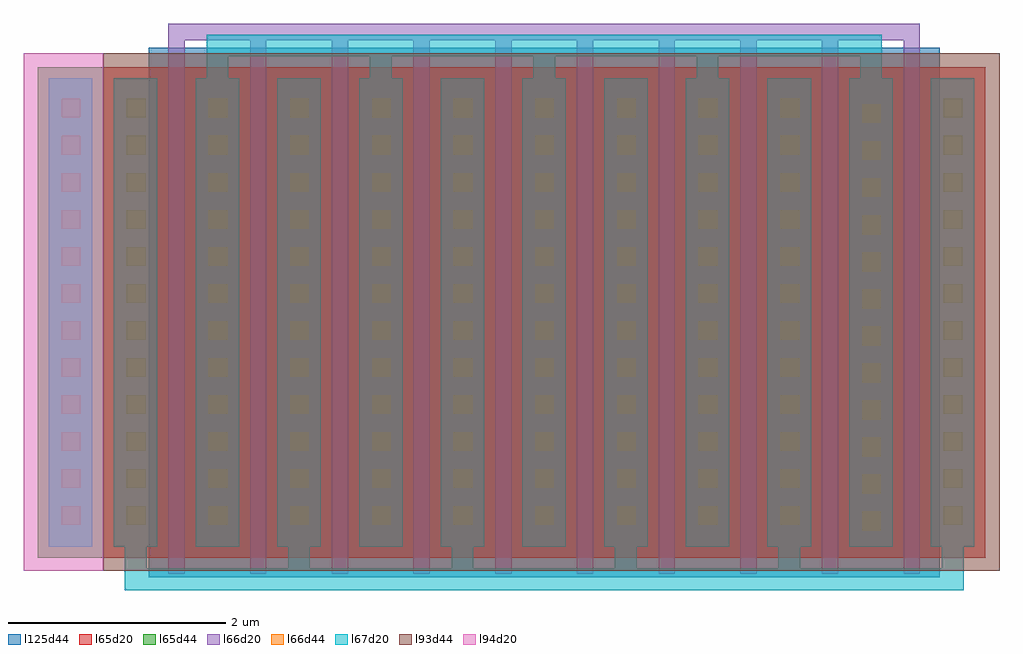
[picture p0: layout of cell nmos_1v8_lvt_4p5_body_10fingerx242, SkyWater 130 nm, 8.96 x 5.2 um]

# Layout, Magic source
magic
tech sky130a
<< l67d20 >>
rect 135 475 755 495
rect 735 455 755 475
rect 585 455 605 475
rect 435 455 455 475
rect 285 455 305 475
rect 135 455 155 475
rect 800 25 840 455
rect 725 25 765 455
rect 650 25 690 455
rect 575 25 615 455
rect 500 25 540 455
rect 425 25 465 455
rect 350 25 390 455
rect 275 25 315 455
rect 200 25 240 455
rect 125 25 165 455
rect 50 25 90 455
rect 810 5 830 25
rect 660 5 680 25
rect 510 5 530 25
rect 360 5 380 25
rect 210 5 230 25
rect 60 5 80 25
rect 60 -15 830 5
rect -10 25 30 455
<< l66d20 >>
rect 100 490 790 505
rect 775 0 790 490
rect 700 0 715 490
rect 625 0 640 490
rect 550 0 565 490
rect 475 0 490 490
rect 400 0 415 490
rect 325 0 340 490
rect 250 0 265 490
rect 175 0 190 490
rect 100 0 115 490
<< l66d44 >>
rect 437 419 454 436
rect 437 385 454 402
rect 437 351 454 368
rect 437 317 454 334
rect 437 283 454 300
rect 437 249 454 266
rect 812 351 829 368
rect 737 346 754 363
rect 812 283 829 300
rect 737 278 754 295
rect 662 283 679 300
rect 587 283 604 300
rect 512 283 529 300
rect 662 351 679 368
rect 587 351 604 368
rect 512 351 529 368
rect 737 380 754 397
rect 662 385 679 402
rect 587 385 604 402
rect 812 249 829 266
rect 737 244 754 261
rect 662 249 679 266
rect 587 249 604 266
rect 512 249 529 266
rect 512 385 529 402
rect 737 414 754 431
rect 662 419 679 436
rect 812 317 829 334
rect 737 312 754 329
rect 662 317 679 334
rect 587 317 604 334
rect 512 317 529 334
rect 587 419 604 436
rect 512 419 529 436
rect 812 419 829 436
rect 812 385 829 402
rect 287 419 304 436
rect 362 351 379 368
rect 287 351 304 368
rect 212 351 229 368
rect 137 351 154 368
rect 62 351 79 368
rect 212 419 229 436
rect 362 317 379 334
rect 287 317 304 334
rect 212 317 229 334
rect 137 317 154 334
rect 62 317 79 334
rect 137 419 154 436
rect 362 283 379 300
rect 287 283 304 300
rect 212 283 229 300
rect 137 283 154 300
rect 62 283 79 300
rect 62 419 79 436
rect 362 249 379 266
rect 287 249 304 266
rect 212 249 229 266
rect 137 249 154 266
rect 62 249 79 266
rect 362 419 379 436
rect 362 385 379 402
rect 287 385 304 402
rect 212 385 229 402
rect 137 385 154 402
rect 62 385 79 402
rect 2 351 19 368
rect 2 317 19 334
rect 2 283 19 300
rect 2 419 19 436
rect 2 249 19 266
rect 2 385 19 402
rect 212 181 229 198
rect 362 113 379 130
rect 287 113 304 130
rect 212 113 229 130
rect 137 113 154 130
rect 62 113 79 130
rect 137 181 154 198
rect 62 181 79 198
rect 212 215 229 232
rect 137 215 154 232
rect 62 215 79 232
rect 287 45 304 62
rect 362 79 379 96
rect 287 79 304 96
rect 212 79 229 96
rect 137 79 154 96
rect 62 79 79 96
rect 212 45 229 62
rect 137 45 154 62
rect 362 147 379 164
rect 287 147 304 164
rect 212 147 229 164
rect 137 147 154 164
rect 362 45 379 62
rect 62 147 79 164
rect 62 45 79 62
rect 362 215 379 232
rect 287 215 304 232
rect 362 181 379 198
rect 287 181 304 198
rect 2 147 19 164
rect 2 45 19 62
rect 2 113 19 130
rect 2 181 19 198
rect 2 215 19 232
rect 2 79 19 96
rect 812 147 829 164
rect 737 142 754 159
rect 662 147 679 164
rect 587 147 604 164
rect 512 147 529 164
rect 662 215 679 232
rect 812 113 829 130
rect 737 108 754 125
rect 662 113 679 130
rect 587 113 604 130
rect 512 113 529 130
rect 587 215 604 232
rect 812 79 829 96
rect 737 74 754 91
rect 662 79 679 96
rect 587 79 604 96
rect 512 79 529 96
rect 512 215 529 232
rect 812 45 829 62
rect 737 40 754 57
rect 662 45 679 62
rect 587 45 604 62
rect 512 45 529 62
rect 812 215 829 232
rect 437 215 454 232
rect 437 181 454 198
rect 437 147 454 164
rect 437 113 454 130
rect 437 79 454 96
rect 437 45 454 62
rect 812 181 829 198
rect 737 176 754 193
rect 662 181 679 198
rect 587 181 604 198
rect 512 181 529 198
rect 737 210 754 227
<< l65d20 >>
rect 40 15 850 465
<< l93d44 >>
rect 40 3 863 478
<< l125d44 >>
rect 82 -3 808 483
<< l94d20 >>
rect -33 3 40 478
<< l65d44 >>
rect -20 15 40 465
<< end >>
